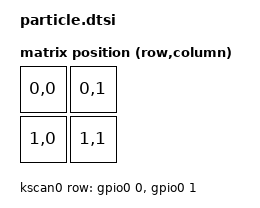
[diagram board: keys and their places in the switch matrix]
#include <dt-bindings/zmk/matrix_transform.h>
#include "particle-layouts.dtsi"

&particle_layout {
    transform = <&two_column_transform>;
};

/ {
    chosen { 
        zmk,kscan = &kscan0;
        zmk,physical-layout = &particle_layout;
    };

    two_column_transform: keymap_transform_0 {
        compatible = "zmk,matrix-transform";
        columns = <2>;
        rows = <2>;
// | SW1  | SW2  |
// | SW3  | SW4  |
        map = <
RC(0,0) RC(0,1)
RC(1,0) RC(1,1)
        >;
    };

    kscan0: kscan {
        compatible = "zmk,kscan-gpio-matrix";
        wakeup-source;

        diode-direction = "col2row";
        row-gpios
            = <&gpio0 0 (GPIO_ACTIVE_HIGH | GPIO_PULL_DOWN)>
            , <&gpio0 1  (GPIO_ACTIVE_HIGH | GPIO_PULL_DOWN)>
            ;

    }; 

};


